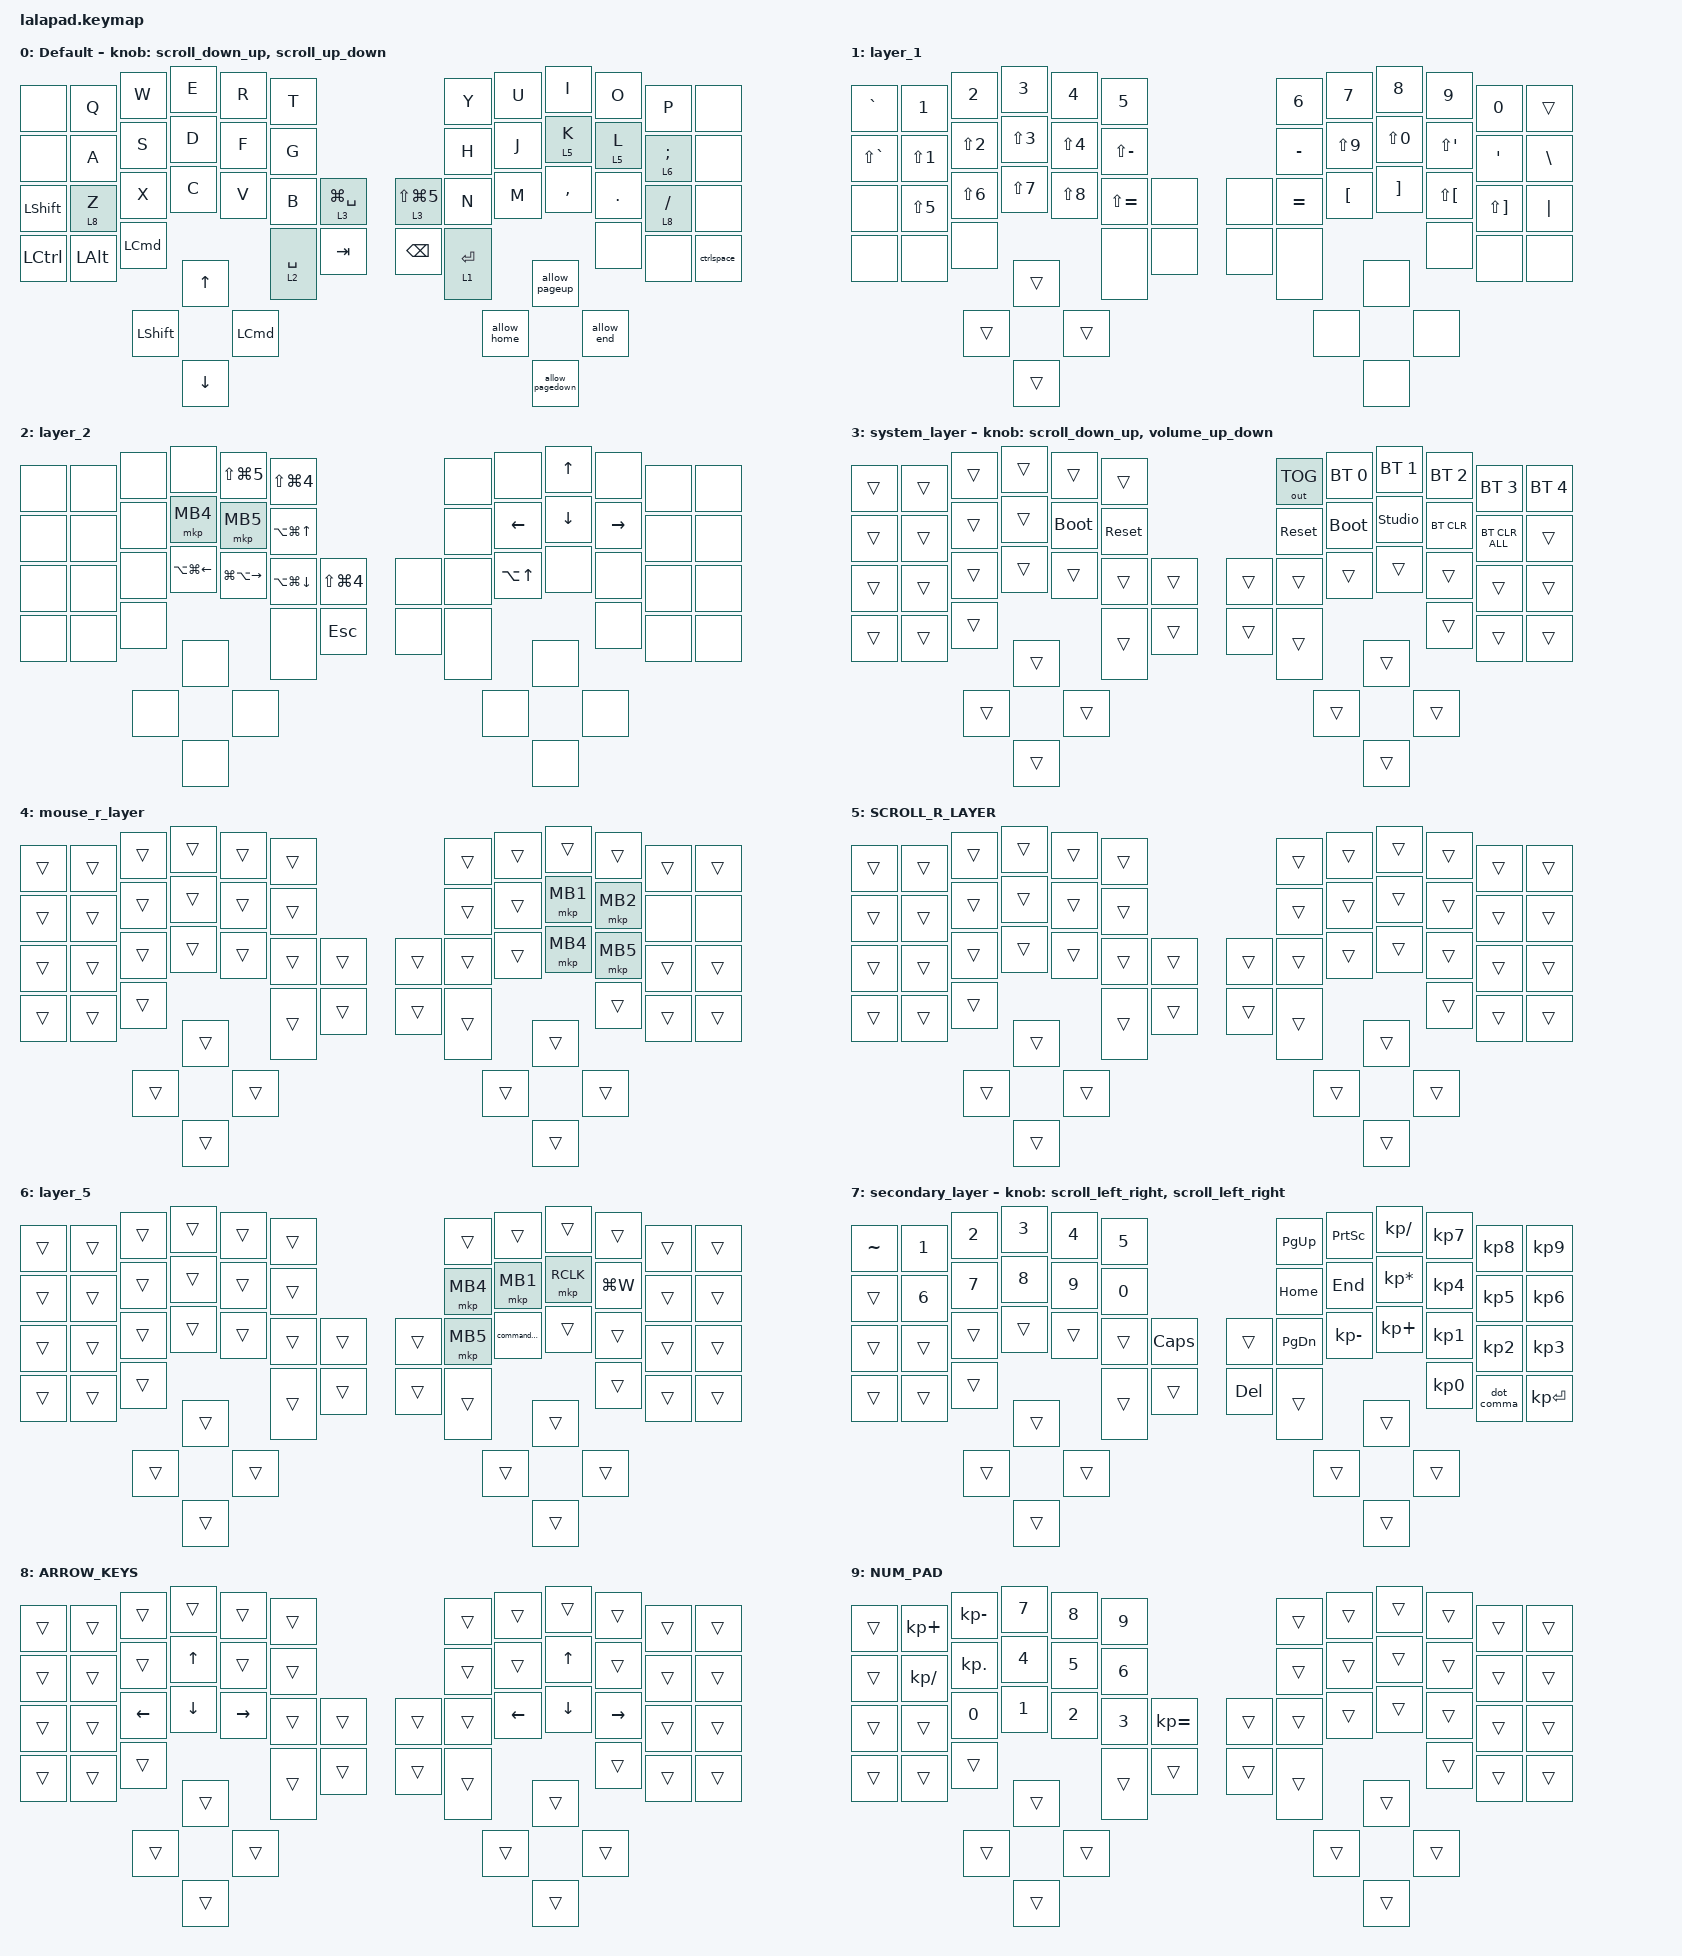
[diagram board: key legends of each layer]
#include <input/processors.dtsi>
#include <behaviors.dtsi>
#include <dt-bindings/zmk/bt.h>
#include <dt-bindings/zmk/keys.h>
#include <dt-bindings/zmk/outputs.h>
#include <dt-bindings/zmk/pointing.h>

#define DEFAULT_LAYER   0
#define SECONDARY_LAYER 1
#define TERTIARY_LAYER  2
#define SYSTEM_LAYER    3
#define MOUSE_R_LAYER   4
#define SCROLL_R_LAYER  5
#define MOUSE_L_LAYER   6
#define SCROLL_L_LAYER  7

// Mouse Scroll Value

#define ZMK_POINTING_DEFAULT_SCRL_VAL 100

// cirque trackpad input&layer control

&glidepoint_listener_R {
    input-processors =
        <&zip_xy_transform (INPUT_TRANSFORM_XY_SWAP | INPUT_TRANSFORM_X_INVERT | INPUT_TRANSFORM_Y_INVERT)>,
        //<&zip_xy_scaler 6 2>,,,,,,,,,,,,,,,,,,,
        //<&zip_temp_layer MOUSE_R_LAYER 500>;,,,,,,,,,,,,,,,,,,
        <&zip_xy_scaler 8 2>;

    lowspeedmode {
        layers = <SECONDARY_LAYER>;
        input-processors =
            <&zip_xy_transform (INPUT_TRANSFORM_XY_SWAP | INPUT_TRANSFORM_X_INVERT | INPUT_TRANSFORM_Y_INVERT)>,
            //<&zip_xy_scaler 3 5>,,,,,,,,,,,,,,,,,,,
            //<&zip_temp_layer MOUSE_R_LAYER 500>;,,,,,,,,,,,,,,,,,,
            <&zip_xy_scaler 5 5>;
    };

    scroller {
        layers = <SCROLL_R_LAYER>;
        input-processors =
            <&zip_xy_to_scroll_mapper>,
            <&zip_scroll_transform (INPUT_TRANSFORM_XY_SWAP | INPUT_TRANSFORM_Y_INVERT)>,
            <&zip_scroll_scaler 1 8>;
    };
};

&glidepoint_listener_L {
    input-processors =
        <&zip_xy_transform (INPUT_TRANSFORM_XY_SWAP | INPUT_TRANSFORM_X_INVERT | INPUT_TRANSFORM_Y_INVERT)>,
        <&zip_xy_scaler 3 2>,
        <&zip_temp_layer MOUSE_L_LAYER 500>;

    lowspeedmode {
        layers = <SECONDARY_LAYER>;
        input-processors =
            <&zip_xy_transform (INPUT_TRANSFORM_XY_SWAP | INPUT_TRANSFORM_X_INVERT | INPUT_TRANSFORM_Y_INVERT)>,
            <&zip_xy_scaler 3 4>,
            <&zip_temp_layer MOUSE_L_LAYER 500>;
    };

    scroller {
        layers = <SCROLL_L_LAYER>;
        input-processors =
            <&zip_xy_to_scroll_mapper>,
            <&zip_scroll_transform (INPUT_TRANSFORM_XY_SWAP | INPUT_TRANSFORM_Y_INVERT)>,
            <&zip_scroll_scaler 1 6>;
    };
};

/ {
    behaviors {
        // Encoder to Mouse Scroll

        scroll_up_down: behavior_sensor_rotate_mouse_wheel_up_down {
            compatible = "zmk,behavior-sensor-rotate";
            #sensor-binding-cells = <0>;
            bindings = <&msc SCRL_UP>, <&msc SCRL_DOWN>;

            tap-ms = <20>;
        };

        scroll_down_up: behavior_sensor_rotate_mouse_wheel_down_up {
            compatible = "zmk,behavior-sensor-rotate";
            #sensor-binding-cells = <0>;
            bindings = <&msc SCRL_DOWN>, <&msc SCRL_UP>;

            tap-ms = <20>;
        };

        scroll_left_right: behavior_sensor_rotate_mouse_wheel_left_right {
            compatible = "zmk,behavior-sensor-rotate";
            #sensor-binding-cells = <0>;
            bindings = <&msc SCRL_LEFT>, <&msc SCRL_RIGHT>;

            tap-ms = <20>;
        };

        scroll_right_left: behavior_sensor_rotate_mouse_wheel_right_left {
            compatible = "zmk,behavior-sensor-rotate";
            #sensor-binding-cells = <0>;
            bindings = <&msc SCRL_RIGHT>, <&msc SCRL_LEFT>;

            tap-ms = <20>;
        };

        volume_up_down: behavior_sensor_rotate_volume_up_down {
            compatible = "zmk,behavior-sensor-rotate";
            #sensor-binding-cells = <0>;
            bindings = <&kp C_VOLUME_UP>, <&kp C_VOLUME_DOWN>;

            tap-ms = <20>;
        };

        dot_comma: dot_comma {
            compatible = "zmk,behavior-mod-morph";
            #binding-cells = <0>;
            bindings = <&kp KP_DOT>, <&kp COMMA>;

            mods = <(MOD_LSFT|MOD_RSFT)>;
            label = "DOT_COMMA";
        };

        pls_minus: pls_minus {
            compatible = "zmk,behavior-mod-morph";
            #binding-cells = <0>;
            bindings = <&kp PLUS>, <&kp MINUS>;

            mods = <(MOD_LSFT|MOD_RSFT)>;
            label = "PLS_MINUS";
        };

        allow_pageup: allow_pageup {
            compatible = "zmk,behavior-mod-morph";
            #binding-cells = <0>;
            bindings = <&kp UP>, <&kp PAGE_UP>;

            mods = <(MOD_LCTL|MOD_RCTL)>;
            label = "ALLOW_PAGEUP";
        };

        allow_pagedown: allow_pagedown {
            compatible = "zmk,behavior-mod-morph";
            #binding-cells = <0>;
            bindings = <&kp DOWN>, <&kp PAGE_DOWN>;

            mods = <(MOD_LCTL|MOD_RCTL)>;
            label = "ALLOW_PAGEDOWN";
        };

        allow_home: allow_home {
            compatible = "zmk,behavior-mod-morph";
            #binding-cells = <0>;
            bindings = <&kp LEFT>, <&kp HOME>;

            mods = <(MOD_LCTL|MOD_RCTL)>;
            label = "ALLOW_HOME";
        };

        allow_end: allow_end {
            compatible = "zmk,behavior-mod-morph";
            #binding-cells = <0>;
            bindings = <&kp RIGHT>, <&kp END>;

            mods = <(MOD_LCTL|MOD_RCTL)>;
            label = "ALLOW_END";
        };

        mt2: mod_tap2 {
            compatible = "zmk,behavior-hold-tap";
            #binding-cells = <2>;
            flavor = "tap-preferred";
            tapping-term-ms = <200>;
            quick-tap-ms = <200>;
            require-prior-idle-ms = <125>;
            bindings = <&kp>, <&kp>;
        };
    };

    macros {
        ctrlspace: ctrlspace {
            compatible = "zmk,behavior-macro";
            #binding-cells = <0>;
            bindings = <&kp LC(SPACE)>;
            label = "CTRLSPACE";
        };

        commandclick: commandclick {
            compatible = "zmk,behavior-macro";
            #binding-cells = <0>;
            bindings = <&kp LEFT_GUI &mkp MB1>;
            label = "COMMANDCLICK";
        };
    };

    keymap {
        compatible = "zmk,keymap";

        DEFAULT_LAYER {
            display-name = "Default";
            sensor-bindings = <&scroll_down_up>, <&scroll_up_down>;

            bindings = <
&none             &kp Q         &kp W             &kp E           &kp R     &kp T             &kp Y                   &kp U          &kp I            &kp O       &kp P        &none
&none             &kp A         &kp S             &kp D           &kp F     &kp G             &kp H                   &kp J          &lt 5 K          &lt 5 L     &lt 6 SEMI   &none
&kp LSHFT         &lt 8 Z       &kp X             &kp C           &kp V     &kp B             &kp N                   &kp M          &kp COMMA        &kp PERIOD  &lt 8 SLASH  &none
&kp LEFT_CONTROL  &kp LEFT_ALT  &kp LEFT_COMMAND  &lt 2 SPACE     &kp TAB   &lt 3 LG(SPACE)   &lt 3 LS(LG(NUMBER_5))  &kp BACKSPACE  &lt 1 ENTER      &none       &none        &ctrlspace
                                &kp UP_ARROW      &kp LEFT_SHIFT  &kp DOWN  &kp LEFT_COMMAND  &allow_pageup           &allow_home    &allow_pagedown  &allow_end
            >;
        };

        layer_1 {
            bindings = <
&kp GRAVE      &kp N1      &kp N2      &kp N3      &kp N4      &kp N5         &kp N6     &kp N7      &kp N8      &kp N9        &kp N0        &trans
&kp LS(GRAVE)  &kp LS(N1)  &kp LS(N2)  &kp LS(N3)  &kp LS(N4)  &kp LS(MINUS)  &kp MINUS  &kp LS(N9)  &kp LS(N0)  &kp LS(APOS)  &kp APOS      &kp BACKSLASH
&none          &kp LS(N5)  &kp LS(N6)  &kp LS(N7)  &kp LS(N8)  &kp LS(EQUAL)  &kp EQUAL  &kp LBKT    &kp RBKT    &kp LS(LBKT)  &kp LS(RBKT)  &kp PIPE
&none          &none       &none       &none       &none       &none          &none      &none       &none       &none         &none         &none
                           &trans      &trans      &trans      &trans         &none      &none       &none       &none
            >;
        };

        layer_2 {
            bindings = <
&none  &none  &none  &none             &kp LS(LG(N5))     &kp LS(LG(N4))        &none  &none       &kp UP    &none      &none  &none
&none  &none  &none  &mkp MB4          &mkp MB5           &kp LA(LG(UP))        &none  &kp LEFT    &kp DOWN  &kp RIGHT  &none  &none
&none  &none  &none  &kp LA(LG(LEFT))  &kp LG(LA(RIGHT))  &kp LA(LG(DOWN))      &none  &kp LA(UP)  &none     &none      &none  &none
&none  &none  &none  &none             &kp ESC            &kp LS(LG(NUMBER_4))  &none  &none       &none     &none      &none  &none
              &none  &none             &none              &none                 &none  &none       &none     &none
            >;
        };

        SYSTEM_LAYER {
            display-name = "system_layer";
            sensor-bindings = <&scroll_down_up>, <&volume_up_down>;

            bindings = <
&trans  &trans  &trans  &trans  &trans       &trans      &out OUT_TOG  &bt BT_SEL 0  &bt BT_SEL 1    &bt BT_SEL 2  &bt BT_SEL 3    &bt BT_SEL 4
&trans  &trans  &trans  &trans  &bootloader  &sys_reset  &sys_reset    &bootloader   &studio_unlock  &bt BT_CLR    &bt BT_CLR_ALL  &trans
&trans  &trans  &trans  &trans  &trans       &trans      &trans        &trans        &trans          &trans        &trans          &trans
&trans  &trans  &trans  &trans  &trans       &trans      &trans        &trans        &trans          &trans        &trans          &trans
                &trans  &trans  &trans       &trans      &trans        &trans        &trans          &trans
            >;
        };

        MOUSE_R_LAYER {
            display-name = "mouse_r_layer";
            bindings = <
&trans  &trans  &trans  &trans  &trans  &trans  &trans  &trans  &trans    &trans    &trans  &trans
&trans  &trans  &trans  &trans  &trans  &trans  &trans  &trans  &mkp MB1  &mkp MB2  &none   &none
&trans  &trans  &trans  &trans  &trans  &trans  &trans  &trans  &mkp MB4  &mkp MB5  &trans  &trans
&trans  &trans  &trans  &trans  &trans  &trans  &trans  &trans  &trans    &trans    &trans  &trans
                &trans  &trans  &trans  &trans  &trans  &trans  &trans    &trans
            >;
        };

        SCROLL_R_LAYER {
            bindings = <
&trans  &trans  &trans  &trans  &trans  &trans  &trans  &trans  &trans  &trans  &trans  &trans
&trans  &trans  &trans  &trans  &trans  &trans  &trans  &trans  &trans  &trans  &trans  &trans
&trans  &trans  &trans  &trans  &trans  &trans  &trans  &trans  &trans  &trans  &trans  &trans
&trans  &trans  &trans  &trans  &trans  &trans  &trans  &trans  &trans  &trans  &trans  &trans
                &trans  &trans  &trans  &trans  &trans  &trans  &trans  &trans
            >;
        };

        layer_5 {
            bindings = <
&trans  &trans  &trans  &trans  &trans  &trans  &trans    &trans         &trans     &trans     &trans  &trans
&trans  &trans  &trans  &trans  &trans  &trans  &mkp MB4  &mkp MB1       &mkp RCLK  &kp LG(W)  &trans  &trans
&trans  &trans  &trans  &trans  &trans  &trans  &mkp MB5  &commandclick  &trans     &trans     &trans  &trans
&trans  &trans  &trans  &trans  &trans  &trans  &trans    &trans         &trans     &trans     &trans  &trans
                &trans  &trans  &trans  &trans  &trans    &trans         &trans     &trans
            >;
        };

        SECONDARY_LAYER {
            display-name = "secondary_layer";
            sensor-bindings = <&scroll_left_right>, <&scroll_left_right>;

            bindings = <
&kp TILDE  &kp NUMBER_1  &kp NUMBER_2  &kp NUMBER_3  &kp NUMBER_4  &kp NUMBER_5  &kp PAGE_UP    &kp PRINTSCREEN  &kp KP_SLASH     &kp KP_NUMBER_7  &kp KP_NUMBER_8  &kp KP_NUMBER_9
&trans     &kp NUMBER_6  &kp NUMBER_7  &kp NUMBER_8  &kp NUMBER_9  &kp NUMBER_0  &kp HOME       &kp END          &kp KP_ASTERISK  &kp KP_NUMBER_4  &kp KP_NUMBER_5  &kp KP_NUMBER_6
&trans     &trans        &trans        &trans        &trans        &trans        &kp PAGE_DOWN  &kp KP_MINUS     &kp KP_PLUS      &kp KP_NUMBER_1  &kp KP_NUMBER_2  &kp KP_NUMBER_3
&trans     &trans        &trans        &trans        &trans        &kp CAPS      &trans         &kp DELETE       &trans           &kp KP_NUMBER_0  &dot_comma       &kp KP_ENTER
                         &trans        &trans        &trans        &trans        &trans         &trans           &trans           &trans
            >;
        };

        ARROW_KEYS {
            bindings = <
&trans  &trans  &trans    &trans    &trans     &trans  &trans  &trans    &trans    &trans     &trans  &trans
&trans  &trans  &trans    &kp UP    &trans     &trans  &trans  &trans    &kp UP    &trans     &trans  &trans
&trans  &trans  &kp LEFT  &kp DOWN  &kp RIGHT  &trans  &trans  &kp LEFT  &kp DOWN  &kp RIGHT  &trans  &trans
&trans  &trans  &trans    &trans    &trans     &trans  &trans  &trans    &trans    &trans     &trans  &trans
                &trans    &trans    &trans     &trans  &trans  &trans    &trans    &trans
            >;
        };

        NUM_PAD {
            bindings = <
&trans  &kp KP_PLUS   &kp KP_MINUS  &kp N7  &kp N8  &kp N9        &trans  &trans  &trans  &trans  &trans  &trans
&trans  &kp KP_SLASH  &kp KP_DOT    &kp N4  &kp N5  &kp N6        &trans  &trans  &trans  &trans  &trans  &trans
&trans  &trans        &kp N0        &kp N1  &kp N2  &kp N3        &trans  &trans  &trans  &trans  &trans  &trans
&trans  &trans        &trans        &trans  &trans  &kp KP_EQUAL  &trans  &trans  &trans  &trans  &trans  &trans
                      &trans        &trans  &trans  &trans        &trans  &trans  &trans  &trans
            >;
        };
    };
};
